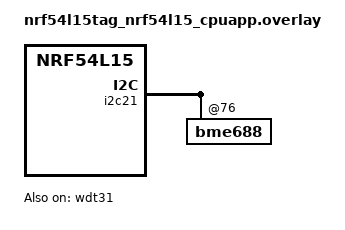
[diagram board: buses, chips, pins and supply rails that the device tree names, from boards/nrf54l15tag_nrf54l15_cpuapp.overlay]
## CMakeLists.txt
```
#
# Copyright (c) 2025 Nordic Semiconductor ASA
#
# SPDX-License-Identifier: LicenseRef-Nordic-5-Clause
#

cmake_minimum_required(VERSION 3.20.0)

find_package(Zephyr HINTS $ENV{ZEPHYR_BASE})

project(matter-temperature-sensor)

# Enable GNU STD support.
include(${ZEPHYR_CONNECTEDHOMEIP_MODULE_DIR}/config/nrfconnect/app/enable-gnu-std.cmake)

# NORDIC SDK APP START

# Include all source files that are located in the Matter common directory.
include(${ZEPHYR_NRF_MODULE_DIR}/samples/matter/common/cmake/source_common.cmake)

# Include Data Model utils
include(${ZEPHYR_NRF_MODULE_DIR}/samples/matter/common/cmake/data_model.cmake)

include(${ZEPHYR_NRF_MODULE_DIR}/samples/matter/common/cmake/zap_helpers.cmake)
ncs_get_zap_parent_dir(ZAP_PARENT_DIR)

target_include_directories(app PRIVATE
    src
    ${ZAP_PARENT_DIR}
)

target_sources(app PRIVATE
    src/app_task.cpp
    src/main.cpp
)

ncs_configure_data_model()
# NORDIC SDK APP END
```

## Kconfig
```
#
# Copyright (c) 2025 Nordic Semiconductor
#
# SPDX-License-Identifier: LicenseRef-Nordic-5-Clause
#
mainmenu "Matter nRF Connect Temperature Sensor Example Application"

choice OPENTHREAD_NORDIC_LIBRARY_CONFIGURATION
	default OPENTHREAD_NORDIC_LIBRARY_MTD
endchoice

choice OPENTHREAD_DEVICE_TYPE
	default OPENTHREAD_MTD
endchoice

config CHIP_ENABLE_ICD_SUPPORT
	default y

config CHIP_ICD_LIT_SUPPORT
	default y

config CHIP_ICD_SIT_SLOW_POLL_LIMIT
	default 5000

config CHIP_ICD_REPORT_ON_ACTIVE_MODE
	default y

# Reduce Thread TX output power to 0 dBm for SED device
config OPENTHREAD_DEFAULT_TX_POWER
	default 0

source "$(ZEPHYR_CONNECTEDHOMEIP_MODULE_DIR)/config/nrfconnect/chip-module/Kconfig.features"
source "$(ZEPHYR_CONNECTEDHOMEIP_MODULE_DIR)/config/nrfconnect/chip-module/Kconfig.defaults"
source "$(ZEPHYR_NRF_MODULE_DIR)/samples/matter/common/src/Kconfig"
source "Kconfig.zephyr"
```

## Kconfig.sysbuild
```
#
# Copyright (c) 2025 Nordic Semiconductor ASA
#
# SPDX-License-Identifier: LicenseRef-Nordic-5-Clause
#

#### Radio core selection
config NRF_DEFAULT_IPC_RADIO
	default y

# Enable IEEE802.15.4 serialization to network core
# This config automatically pulls in the `overlay-802154.conf` in the ipc_radio image
config NETCORE_IPC_RADIO_IEEE802154
	default y if SOC_SERIES_NRF53

# Enable Bluetooth serialization to network core
# This config automatically pulls in the `overlay-bt_hci_ipc.conf` in the ipc_radio image
config NETCORE_IPC_RADIO_BT_HCI_IPC
	default y if SOC_SERIES_NRF53

#### Bootloader
choice BOOTLOADER
	default BOOTLOADER_MCUBOOT
endchoice

# The nRF54LC10 DK keeps MCUboot but uses a single application slot:
# it has no external flash and its RRAM cannot hold two Matter-sized slots.
# DFU can be added by introducing external flash.
config MATTER_OTA
	default n if BOARD_NRF54LC10DK

if BOOTLOADER_MCUBOOT

#### DFU multi-image support
config DFU_MULTI_IMAGE_PACKAGE_BUILD
	default y

config DFU_MULTI_IMAGE_PACKAGE_APP
	default y

#### DFU network core configuration
if SOC_SERIES_NRF53

choice MCUBOOT_MODE
	default MCUBOOT_MODE_OVERWRITE_ONLY
endchoice

choice BOOT_SIGNATURE_TYPE
	default BOOT_SIGNATURE_TYPE_RSA
endchoice

config SECURE_BOOT_NETCORE
	default y

config NETCORE_APP_UPDATE
	default y

config DFU_MULTI_IMAGE_PACKAGE_NET
	default y

config MCUBOOT_NRF53_MULTI_IMAGE_UPDATE
	default y if NETCORE_APP_UPDATE

endif # SOC_SERIES_NRF53

# Internal flash only for nRF54L15 tag with compression
if BOARD_NRF54L15TAG

choice MCUBOOT_MODE
	default MCUBOOT_MODE_OVERWRITE_ONLY
endchoice

config MCUBOOT_COMPRESSED_IMAGE_SUPPORT
	default y

endif

# Disable Secondary slot for nRF54LC10 DK since it lacks memory to support it.
if BOARD_NRF54LC10DK

choice MCUBOOT_MODE
	default MCUBOOT_MODE_SINGLE_APP
endchoice

endif

endif # BOOTLOADER_MCUBOOT

#### Enable generating factory data
config MATTER_FACTORY_DATA_GENERATE
	default y

source "share/sysbuild/Kconfig"
```

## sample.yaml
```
sample:
  description: Matter Temperature Sensor example
  name: Matter Temperature Sensor
common:
  tags:
    - sysbuild
    - ci_samples_matter
tests:
  sample.matter.temperature_sensor.debug:
    sysbuild: true
    build_only: true
    integration_platforms:
      - nrf52840dk/nrf52840
      - nrf5340dk/nrf5340/cpuapp
    platform_allow:
      - nrf52840dk/nrf52840
      - nrf5340dk/nrf5340/cpuapp
      - nrf54l15dk/nrf54l15/cpuapp
      - nrf54l15tag/nrf54l15/cpuapp
      - nrf54lm20dk/nrf54lm20b/cpuapp
      - nrf54lm20dk/nrf54lm20a/cpuapp
      - nrf54lc10dk/nrf54lc10a/cpuapp
  sample.matter.temperature_sensor.release:
    sysbuild: true
    build_only: true
    extra_args:
      - FILE_SUFFIX=release
    integration_platforms:
      - nrf54lm20dk/nrf54lm20b/cpuapp
      - nrf54lm20dk/nrf54lm20a/cpuapp
      - nrf54lc10dk/nrf54lc10a/cpuapp
    platform_allow:
      - nrf52840dk/nrf52840
      - nrf5340dk/nrf5340/cpuapp
      - nrf54l15dk/nrf54l15/cpuapp
      - nrf54l15tag/nrf54l15/cpuapp
      - nrf54lm20dk/nrf54lm20b/cpuapp
      - nrf54lm20dk/nrf54lm20a/cpuapp
      - nrf54lc10dk/nrf54lc10a/cpuapp
```

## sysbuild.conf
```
#
# Copyright (c) 2025 Nordic Semiconductor
#
# SPDX-License-Identifier: LicenseRef-Nordic-5-Clause
#

SB_CONFIG_MATTER=y
SB_CONFIG_PARTITION_MANAGER=n
```

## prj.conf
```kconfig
#
# Copyright (c) 2025 Nordic Semiconductor ASA
#
# SPDX-License-Identifier: LicenseRef-Nordic-5-Clause
#

# Enable CHIP
CONFIG_CHIP=y
CONFIG_CHIP_PROJECT_CONFIG="src/chip_project_config.h"
CONFIG_CHIP_DEVICE_PRODUCT_NAME="Matter Temperature Sensor"

# Configure ZAP file name
CONFIG_NCS_SAMPLE_MATTER_ZAP_FILE_PATH="${APPLICATION_CONFIG_DIR}/src/default_zap/temperature_sensor.zap"

# Based on https://github.com/project-chip/connectedhomeip/blob/482e6fd03196a6de45465a90003947ef4b86e0b1/docs/examples/discussion/PID_allocation_for_example_apps.md)
CONFIG_CHIP_DEVICE_PRODUCT_ID=32781
CONFIG_STD_CPP17=y

# Enable Matter pairing automatically on application start.
CONFIG_CHIP_ENABLE_PAIRING_AUTOSTART=y

# Enable Matter extended announcement and increase duration to 1 hour.
CONFIG_CHIP_BLE_EXT_ADVERTISING=y
CONFIG_CHIP_BLE_ADVERTISING_DURATION=60

# Add support for LEDs and buttons on Nordic development kits
CONFIG_DK_LIBRARY=y

# Bluetooth Low Energy configuration
CONFIG_BT_DEVICE_NAME="MatterTemperature"
CONFIG_BT_DEVICE_NAME_MAX=18

# Suspend devices when the CPU goes into sleep
CONFIG_PM_DEVICE=y

# Other settings
CONFIG_THREAD_NAME=y
CONFIG_MPU_STACK_GUARD=y
CONFIG_RESET_ON_FATAL_ERROR=n
CONFIG_CHIP_LIB_SHELL=y

# Reduce application size
CONFIG_USE_SEGGER_RTT=n

# Enable Factory Data feature
CONFIG_CHIP_FACTORY_DATA=y
CONFIG_CHIP_FACTORY_DATA_BUILD=y
```

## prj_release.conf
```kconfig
#
# Copyright (c) 2025 Nordic Semiconductor ASA
#
# SPDX-License-Identifier: LicenseRef-Nordic-5-Clause
#

# Enable CHIP
CONFIG_CHIP=y
CONFIG_CHIP_PROJECT_CONFIG="src/chip_project_config.h"
CONFIG_CHIP_DEVICE_PRODUCT_NAME="Matter Temperature Sensor"

# Configure ZAP file name
CONFIG_NCS_SAMPLE_MATTER_ZAP_FILE_PATH="${APPLICATION_CONFIG_DIR}/src/default_zap/temperature_sensor.zap"

# Based on https://github.com/project-chip/connectedhomeip/blob/482e6fd03196a6de45465a90003947ef4b86e0b1/docs/examples/discussion/PID_allocation_for_example_apps.md)
CONFIG_CHIP_DEVICE_PRODUCT_ID=32781
CONFIG_STD_CPP17=y

# Enable Matter pairing automatically on application start.
CONFIG_CHIP_ENABLE_PAIRING_AUTOSTART=y

# Enable Matter extended announcement and increase duration to 1 hour.
CONFIG_CHIP_BLE_EXT_ADVERTISING=y
CONFIG_CHIP_BLE_ADVERTISING_DURATION=60

# Add support for LEDs and buttons on Nordic development kits
CONFIG_DK_LIBRARY=y

# Try to disable unused RAM blocks to reduce power consumption
CONFIG_RAM_POWER_DOWN_LIBRARY=y

# Bluetooth Low Energy configuration
CONFIG_BT_DEVICE_NAME="MatterTemperature"
CONFIG_BT_DEVICE_NAME_MAX=18

# Suspend devices when the CPU goes into sleep
CONFIG_PM_DEVICE=y

# Enable system reset on fatal error
CONFIG_RESET_ON_FATAL_ERROR=y

# Disable all debug features
CONFIG_USE_SEGGER_RTT=n
CONFIG_SHELL=n
CONFIG_OPENTHREAD_SHELL=n
CONFIG_CONSOLE=n
CONFIG_UART_CONSOLE=n
CONFIG_SERIAL=n
CONFIG_LOG=n
CONFIG_LOG_MODE_MINIMAL=n
CONFIG_ASSERT_VERBOSE=n
CONFIG_ASSERT_NO_FILE_INFO=y
CONFIG_PRINTK=n
CONFIG_PRINTK_SYNC=n
CONFIG_THREAD_NAME=n
CONFIG_BOOT_BANNER=n

# Enable Watchdog
CONFIG_NCS_SAMPLE_MATTER_WATCHDOG=y

# Enable LTO to decrease the flash usage.
CONFIG_LTO=y
CONFIG_ISR_TABLES_LOCAL_DECLARATION=y
```

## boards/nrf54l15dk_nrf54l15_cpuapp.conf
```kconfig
#
# Copyright (c) 2025 Nordic Semiconductor ASA
#
# SPDX-License-Identifier: LicenseRef-Nordic-5-Clause
#

# Low Power mode
CONFIG_POWEROFF=y
```

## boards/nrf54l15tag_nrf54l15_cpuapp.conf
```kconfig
#
# Copyright (c) 2026 Nordic Semiconductor ASA
#
# SPDX-License-Identifier: LicenseRef-Nordic-5-Clause
#

# Use RTT console (tag has no UART; same as rtt-console snippet).
CONFIG_USE_SEGGER_RTT=y
CONFIG_CONSOLE=y
CONFIG_RTT_CONSOLE=y
CONFIG_SEGGER_RTT_BUFFER_SIZE_UP=4096

# Real sensor for the l15tag
CONFIG_I2C=y
CONFIG_SENSOR=y
CONFIG_BME680=y

# No NFC hardware (NFCT pins used as GPIO)
CONFIG_CHIP_NFC_ONBOARDING_PAYLOAD=n

# Enable Watchdog
CONFIG_NCS_SAMPLE_MATTER_WATCHDOG=y

# Enable LTO to decrease the flash usage.
CONFIG_LTO=y
CONFIG_ISR_TABLES_LOCAL_DECLARATION=y

CONFIG_NCS_SAMPLE_MATTER_USE_DEFAULT_BUTTON_HANDLER=n
```

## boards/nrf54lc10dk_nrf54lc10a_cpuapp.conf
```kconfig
#
# Copyright (c) 2026 Nordic Semiconductor ASA
#
# SPDX-License-Identifier: LicenseRef-Nordic-5-Clause
#

# No NFC hardware
CONFIG_CHIP_NFC_ONBOARDING_PAYLOAD=n

# CHIP_BOOTLOADER_MCUBOOT selects IMG_MANAGER, which depends on STREAM_FLASH.
# Matter OTA is disabled on this board (single slot), so OTA defaults do not enable it.
CONFIG_STREAM_FLASH=y
```

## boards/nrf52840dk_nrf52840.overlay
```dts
/*
 * Copyright (c) 2025 Nordic Semiconductor ASA
 *
 * SPDX-License-Identifier: LicenseRef-Nordic-5-Clause
 */

/ {
	chosen {
		nordic,pm-ext-flash = &mx25r64;
	};
};

/* Disable unused peripherals to reduce power consumption */
&adc {
	status = "disabled";
};
&uart1 {
	status = "disabled";
};
&i2c0 {
	status = "disabled";
};
&spi1 {
	status = "disabled";
};
&spi3 {
	status = "disabled";
};
&usbd {
	status = "disabled";
};
```

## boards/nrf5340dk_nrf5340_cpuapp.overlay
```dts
/*
 * Copyright (c) 2025 Nordic Semiconductor ASA
 *
 * SPDX-License-Identifier: LicenseRef-Nordic-5-Clause
 */

#include <zephyr/dt-bindings/ipc_service/static_vrings.h>

/ {
	chosen {
		nordic,pm-ext-flash = &mx25r64;
	};
};

/* Set IPC thread priority to the highest value to not collide with other threads. */
&ipc0 {
	zephyr,priority = <0 PRIO_COOP>;
};

/* Disable unused peripherals to reduce power consumption */
&adc {
	status = "disabled";
};

&i2c1 {
	status = "disabled";
};

&pwm0 {
	status = "disabled";
};

&spi2 {
	status = "disabled";
};

&usbd {
	status = "disabled";
};
```

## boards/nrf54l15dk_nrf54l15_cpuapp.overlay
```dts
/*
 * Copyright (c) 2025 Nordic Semiconductor ASA
 *
 * SPDX-License-Identifier: LicenseRef-Nordic-5-Clause
 */


/ {
	chosen {
		nordic,pm-ext-flash = &mx25r64;
	};

	aliases {
		/* Use watchdog wdt31 as the application watchdog */
		watchdog0 = &wdt31;
	};
};

/* restore full RRAM and SRAM space - by default some parts are dedicated to FLRP */
&cpuapp_rram {
	reg = <0x0 DT_SIZE_K(1524)>;
};

&cpuapp_sram {
	reg = <0x20000000 DT_SIZE_K(256)>;
	ranges = <0x0 0x20000000  0x40000>;
};

&mx25r64 {
	status = "okay";
};

&wdt31 {
	status = "okay";
};
```

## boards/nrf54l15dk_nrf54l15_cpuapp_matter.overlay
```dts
/*
 * Copyright (c) 2025 Nordic Semiconductor ASA
 *
 * SPDX-License-Identifier: LicenseRef-Nordic-5-Clause
 */

/ {
	aliases {
		/* Use watchdog wdt31 as the application watchdog */
		watchdog0 = &wdt31;
	};
};

/* restore full RRAM and SRAM space - by default some parts are dedicated to FLRP */
&cpuapp_rram {
	reg = <0x0 DT_SIZE_K(1524)>;
};

&cpuapp_sram {
	reg = <0x20000000 DT_SIZE_K(256)>;
	ranges = <0x0 0x20000000  0x40000>;
};

/* TODO: re-enable HWFC once it's fixed */
&uart20 {
	/delete-property/ hw-flow-control;
};

&mx25r64 {
	status = "okay";
};

&wdt31 {
	status = "okay";
};
```

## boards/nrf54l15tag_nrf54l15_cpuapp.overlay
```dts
/*
 * Copyright (c) 2026 Nordic Semiconductor ASA
 *
 * SPDX-License-Identifier: LicenseRef-Nordic-5-Clause
 */

/ {
	aliases {
		/* Use watchdog wdt31 as the application watchdog */
		watchdog0 = &wdt31;
	};
};

/* BME680 (temperature pressure and humidity sensor) */
&i2c21 {
	bme688@76 {
		status = "okay";
	};
};

/* restore full RRAM and SRAM space - by default some parts are dedicated to FLRP */
&cpuapp_rram {
	reg = <0x0 DT_SIZE_K(1524)>;
};

&cpuapp_sram {
	reg = <0x20000000 DT_SIZE_K(256)>;
	ranges = <0x0 0x20000000 0x40000>;
};

&wdt31 {
	status = "okay";
};
```

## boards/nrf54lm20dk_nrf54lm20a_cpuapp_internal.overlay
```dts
/*
 * Copyright (c) 2025 Nordic Semiconductor ASA
 *
 * SPDX-License-Identifier: LicenseRef-Nordic-5-Clause
 */

#include <samples/matter/nrf54lm20dk_nrf54lm20a_cpuapp_internal_partitions.dtsi>

/ {
	aliases {
		/* Use watchdog wdt31 as the application watchdog */
		watchdog0 = &wdt31;
	};
};

&wdt31 {
	status = "okay";
};
```

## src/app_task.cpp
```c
/*
 * Copyright (c) 2025 Nordic Semiconductor ASA
 *
 * SPDX-License-Identifier: LicenseRef-Nordic-5-Clause
 */

#include "app_task.h"

#include "app/matter_init.h"
#include "app/task_executor.h"
#include "board/board.h"
#include "clusters/identify.h"
#include "lib/core/CHIPError.h"

#include <app/clusters/temperature-measurement-server/CodegenIntegration.h>

#include <zephyr/logging/log.h>

#ifdef CONFIG_BME680
#include <zephyr/drivers/sensor.h>

const device *sBme688SensorDev = DEVICE_DT_GET_ONE(bosch_bme680);
#endif

LOG_MODULE_DECLARE(app, CONFIG_CHIP_APP_LOG_LEVEL);

using namespace ::chip;
using namespace ::chip::app;
using namespace ::chip::DeviceLayer;

namespace
{
constexpr chip::EndpointId kTemperatureSensorEndpointId = 1;

Nrf::Matter::IdentifyCluster sIdentifyCluster(kTemperatureSensorEndpointId);

#ifdef CONFIG_CHIP_ICD_UAT_SUPPORT
#ifdef CONFIG_NCS_SAMPLE_MATTER_USE_DEFAULT_BUTTON_HANDLER
#define UAT_BUTTON_MASK DK_BTN3_MSK
#endif
#endif

#ifndef CONFIG_NCS_SAMPLE_MATTER_USE_DEFAULT_BUTTON_HANDLER
constexpr int kSoftwareUpdateTimeout = 1500;
constexpr int kUatTimeout = 1500;
constexpr int kFactoryResetTimeout = 3000;
constexpr int kUatBlinkPeriod = 200;
ButtonState sBtnState = ButtonState::None;
k_timer sBtn1Timer;
#endif

} /* namespace */

void HandleUAT()
{
#ifdef CONFIG_CHIP_ICD_UAT_SUPPORT
	LOG_INF("ICD UserActiveMode has been triggered.");
	Server::GetInstance().GetICDManager().OnNetworkActivity();
#endif
}
/* nRF54T15 TAG has only a single button,
 * therefore the default handler for factory data and software update had to be overriden.
 * On other DK's only UAT is handled by the application.
 */
void AppTask::ButtonEventHandler(Nrf::ButtonState state, Nrf::ButtonMask hasChanged)
{
#ifdef CONFIG_NCS_SAMPLE_MATTER_USE_DEFAULT_BUTTON_HANDLER
	if (UAT_BUTTON_MASK & state & hasChanged) {
		HandleUAT();
	}
#else
	if (DK_BTN1_MSK & hasChanged) {
		if (DK_BTN1_MSK & state) {
			LOG_INF("Release the button within %ums to trigger Software Update", kSoftwareUpdateTimeout);
			k_timer_start(&sBtn1Timer, K_MSEC(kSoftwareUpdateTimeout), K_NO_WAIT);
			sBtnState = ButtonState::SoftwareUpdate;
		} else {
			if (sBtnState == ButtonState::SoftwareUpdate) {
#ifndef CONFIG_NCS_SAMPLE_MATTER_CUSTOM_BLUETOOTH_ADVERTISING
				if (Nrf::GetBoard().GetDeviceState() == Nrf::DeviceState::DeviceProvisioned) {
/* In this case we need to run only Bluetooth LE SMP advertising if it is available */
#ifdef CONFIG_CHIP_DFU_OVER_BT_SMP
					GetDFUOverSMP().StartServer();
#else
					LOG_INF("Software update is disabled");
#endif
				} else {
					/* In this case we start both Bluetooth LE SMP and Matter advertising at the
					 * same time */
					Nrf::GetBoard().StartBLEAdvertisement();
				}
#endif
			} else if (sBtnState == ButtonState::UAT) {
				HandleUAT();
			}
			/* Restore LED's state and cancel the timer */
			k_timer_stop(&sBtn1Timer);
			sBtnState = ButtonState::None;
			Nrf::GetBoard().RestoreAllLedsState();
			Nrf::GetBoard().RunLedStateHandler();
		}
	}
#endif
}
#ifndef CONFIG_NCS_SAMPLE_MATTER_USE_DEFAULT_BUTTON_HANDLER
void ButtonTimerEventHandler()
{
	if (sBtnState == ButtonState::SoftwareUpdate) {
		LOG_INF("Release the button within %ums to trigger UAT", kUatTimeout);
		k_timer_start(&sBtn1Timer, K_MSEC(kUatTimeout), K_NO_WAIT);
		sBtnState = ButtonState::UAT;

		/* Turn off all LEDs before starting blink to make sure blink is coordinated. */
		Nrf::GetBoard().ResetAllLeds();
		Nrf::GetBoard().ForEachLED([](Nrf::LEDWidget &led) { led.Blink(kUatBlinkPeriod); });
	} else if (sBtnState == ButtonState::UAT) {
		LOG_INF("Factory reset has been triggered. Release button within %ums to cancel.",
			kFactoryResetTimeout);

		/* Start timer for sFactoryResetTimeout to allow user to cancel, if required. */
		k_timer_start(&sBtn1Timer, K_MSEC(kFactoryResetTimeout), K_NO_WAIT);
		sBtnState = ButtonState::None;

		Nrf::GetBoard().ForEachLED([](Nrf::LEDWidget &led) { led.Blink(Nrf::LedConsts::kBlinkRate_ms); });
		/* If we reached here, the button was held past FactoryResetTriggerTimeout, initiate factory reset */
	} else if (sBtnState == ButtonState::None) {
		/* Actually trigger Factory Reset */
		chip::Server::GetInstance().ScheduleFactoryReset();
	}
}

void ButtonTimerTimeoutCallback(k_timer *timer)
{
	Nrf::PostTask([] { ButtonTimerEventHandler(); });
}

#endif

void AppTask::UpdateTemperatureMeasurement()
{
#ifdef CONFIG_BME680
	/* Real data from the onboard sensor*/
	int result = sensor_sample_fetch(sBme688SensorDev);
	if (result == 0) {
		sensor_value temperature;
		int result = sensor_channel_get(sBme688SensorDev, SENSOR_CHAN_AMBIENT_TEMP, &temperature);
		if (result == 0) {
			/* Defined by cluster temperature measured value = 100 x temperature in degC with resolution of
			 * 0.01 degC. val1 is an integer part of the value and val2 is fractional part in one-millionth
			 * parts. To achieve resolution of 0.01 degC val2 needs to be divided by 10000. */
			mCurrentTemperature = static_cast<int16_t>(temperature.val1 * 100 + temperature.val2 / 10000);
			LOG_DBG("New temperature measurement %d.%d *C", temperature.val1, temperature.val2);
		} else {
			LOG_ERR("Getting temperature measurement data from BME688 failed with: %d", result);
		}
	} else {
		LOG_ERR("Fetching data from BME688 sensor failed with: %d", result);
	}
#else
	/* Linear temperature increase that is wrapped around to min value after reaching the max value. */
	if (mCurrentTemperature < mTemperatureSensorMaxValue) {
		mCurrentTemperature += kTemperatureMeasurementStep;
	} else {
		mCurrentTemperature = mTemperatureSensorMinValue;
	}
#endif
}

void AppTask::UpdateTemperatureTimeoutCallback(k_timer *timer)
{
	if (!timer || !timer->user_data) {
		return;
	}

	CHIP_ERROR err = DeviceLayer::PlatformMgr().ScheduleWork(
		[](intptr_t p) {
			AppTask::Instance().UpdateTemperatureMeasurement();

			CHIP_ERROR setErr = Clusters::TemperatureMeasurement::SetMeasuredValue(
				kTemperatureSensorEndpointId, AppTask::Instance().GetCurrentTemperature());

			if (setErr != CHIP_NO_ERROR) {
				LOG_ERR("Updating temperature measurement failed %" CHIP_ERROR_FORMAT,
					setErr.Format());
			}
		},
		reinterpret_cast<intptr_t>(timer->user_data));
	if (err != CHIP_NO_ERROR) {
		LOG_ERR("ScheduleWork failed: %" CHIP_ERROR_FORMAT, err.Format());
	}
}

CHIP_ERROR AppTask::Init()
{
	/* Initialize Matter stack */
	ReturnErrorOnFailure(Nrf::Matter::PrepareServer());

	if (!Nrf::GetBoard().Init(ButtonEventHandler)) {
		LOG_ERR("User interface initialization failed.");
		return CHIP_ERROR_INCORRECT_STATE;
	}

	/* Register Matter event handler that controls the connectivity status LED based on the captured Matter network
	 * state. */
	ReturnErrorOnFailure(Nrf::Matter::RegisterEventHandler(Nrf::Board::DefaultMatterEventHandler, 0));
#ifdef CONFIG_BME680
	if (!device_is_ready(sBme688SensorDev)) {
		LOG_ERR("BME688 sensor device not ready");
		return chip::System::MapErrorZephyr(-ENODEV);
	}
#endif

	ReturnErrorOnFailure(sIdentifyCluster.Init());

	return Nrf::Matter::StartServer();
}

CHIP_ERROR AppTask::StartApp()
{
	ReturnErrorOnFailure(Init());

	auto *temperatureMeasurement =
		Clusters::TemperatureMeasurement::FindClusterOnEndpoint(kTemperatureSensorEndpointId);

	if (temperatureMeasurement == nullptr) {
		LOG_ERR("Failed to find TemperatureMeasurement cluster");
		return CHIP_ERROR_INCORRECT_STATE;
	}

	DataModel::Nullable<int16_t> minVal = temperatureMeasurement->GetMinMeasuredValue();
	if (minVal.IsNull()) {
		LOG_ERR("Failed to get temperature measurement min value");
		return CHIP_ERROR_INCORRECT_STATE;
	}
	mTemperatureSensorMinValue = minVal.Value();

	DataModel::Nullable<int16_t> maxVal = temperatureMeasurement->GetMaxMeasuredValue();
	if (maxVal.IsNull()) {
		LOG_ERR("Failed to get temperature measurement max value");
		return CHIP_ERROR_INCORRECT_STATE;
	}
	mTemperatureSensorMaxValue = maxVal.Value();

	k_timer_init(&mTimer, AppTask::UpdateTemperatureTimeoutCallback, nullptr);
	k_timer_user_data_set(&mTimer, this);
	k_timer_start(&mTimer, K_MSEC(kTemperatureMeasurementIntervalMs), K_MSEC(kTemperatureMeasurementIntervalMs));
#ifndef CONFIG_NCS_SAMPLE_MATTER_USE_DEFAULT_BUTTON_HANDLER
	k_timer_init(&sBtn1Timer, &ButtonTimerTimeoutCallback, nullptr);
#endif
	while (true) {
		Nrf::DispatchNextTask();
	}

	return CHIP_NO_ERROR;
}
```

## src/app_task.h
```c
/*
 * Copyright (c) 2025 Nordic Semiconductor ASA
 *
 * SPDX-License-Identifier: LicenseRef-Nordic-5-Clause
 */

#pragma once

#include "board/board.h"

#include <platform/CHIPDeviceLayer.h>

struct Identify;

#ifndef CONFIG_NCS_SAMPLE_MATTER_USE_DEFAULT_BUTTON_HANDLER
enum class ButtonState { None, SoftwareUpdate, UAT };
#endif

class AppTask {
public:
	static AppTask &Instance()
	{
		static AppTask sAppTask;
		return sAppTask;
	};

	CHIP_ERROR StartApp();

	/* Defined by cluster temperature measured value = 100 x temperature in degC with resolution of
	 * 0.01 degC. */
	void UpdateTemperatureMeasurement();

	int16_t GetCurrentTemperature() const { return mCurrentTemperature; }

private:
	CHIP_ERROR Init();
	k_timer mTimer;

	static constexpr uint16_t kTemperatureMeasurementIntervalMs = 10000; /* 10 seconds */
	static constexpr uint16_t kTemperatureMeasurementStep = 100; /* 1 degree Celsius */

	static void UpdateTemperatureTimeoutCallback(k_timer *timer);

	static void ButtonEventHandler(Nrf::ButtonState state, Nrf::ButtonMask hasChanged);

	int16_t mTemperatureSensorMaxValue = 0;
	int16_t mTemperatureSensorMinValue = 0;
	int16_t mCurrentTemperature = 0;
};
```

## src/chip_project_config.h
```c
/*
 * Copyright (c) 2025 Nordic Semiconductor ASA
 *
 * SPDX-License-Identifier: LicenseRef-Nordic-5-Clause
 */

/**
 *    @file
 *          Example project configuration file for CHIP.
 *
 *          This is a place to put application or project-specific overrides
 *          to the default configuration values for general CHIP features.
 *
 */

#pragma once
```
